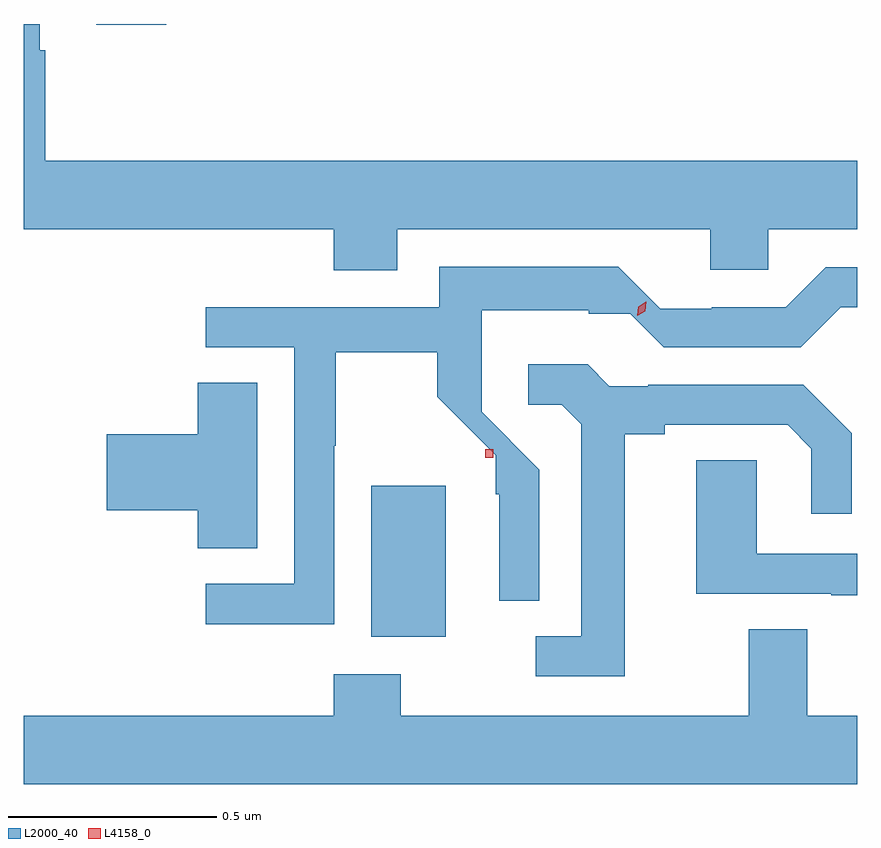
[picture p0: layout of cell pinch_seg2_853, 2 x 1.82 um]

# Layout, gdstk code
import gdstk
lib = gdstk.Library(unit=1e-6, precision=1e-09)
def R(c, l, rs):  # rectangles x0, y0, x1, y1
    for r in rs: c.add(gdstk.rectangle(r[:2], r[2:], *l))
def P(c, l, *ps):  # polygons
    for p in ps: c.add(gdstk.Polygon(p, *l))
L2000_40 = (2000, 40)
L4158_0 = (4158, 0)

pinch_seg2_853 = lib.new_cell('pinch_seg2_853')
R(pinch_seg2_853, L2000_40, [(674.591,596.042,674.77,596.404), (673.931,597.51,674.099,597.512)])
P(pinch_seg2_853, L2000_40, [(674.653,597.02),(675.404,597.02),(675.404,596.922),(675.543,596.922),(675.543,597.02),(675.757,597.02),(675.757,597.184),(673.808,597.184),(673.808,597.449),(673.795,597.449),(673.795,597.512),(673.757,597.512),(673.757,597.02),(674.501,597.02),(674.501,596.921),(674.653,596.921)],
  [(674.502,596.5),(674.505,596.5),(674.505,596.724),(674.749,596.724),(674.749,596.617),(674.889,596.477),(674.889,596.383),(674.898,596.383),(674.898,596.128),(674.994,596.128),(674.994,596.442),(674.856,596.581),(674.856,596.825),(675.113,596.825),(675.113,596.817),(675.212,596.817),(675.293,596.736),(675.621,596.736),(675.717,596.832),(675.757,596.832),(675.757,596.928),(675.681,596.928),(675.585,596.832),(675.408,596.832),(675.408,596.829),(675.284,596.829),(675.184,596.929),(674.754,596.929),(674.754,596.832),(674.193,596.832),(674.193,596.736),(674.406,596.736),(674.406,596.169),(674.193,596.169),(674.193,596.071),(674.502,596.071)],
  [(675.199,596.528),(675.295,596.528),(675.295,596.55),(675.59,596.55),(675.647,596.493),(675.647,596.337),(675.744,596.337),(675.744,596.53),(675.628,596.646),(675.256,596.646),(675.256,596.643),(675.162,596.643),(675.11,596.695),(674.967,596.695),(674.967,596.598),(675.048,596.598),(675.095,596.551),(675.095,596.043),(674.985,596.043),(674.985,595.947),(675.199,595.947)],
  [(674.317,596.651),(674.174,596.651),(674.174,596.528),(673.956,596.528),(673.956,596.345),(674.174,596.345),(674.174,596.254),(674.317,596.254)],
  [(675.757,596.241),(675.516,596.241),(675.516,596.465),(675.371,596.465),(675.371,596.145),(675.695,596.145),(675.695,596.141),(675.757,596.141)],
  [(675.757,595.852),(675.637,595.852),(675.637,596.06),(675.497,596.06),(675.497,595.852),(674.661,595.852),(674.661,595.951),(674.501,595.951),(674.501,595.852),(673.757,595.852),(673.757,595.688),(675.757,595.688)])
R(pinch_seg2_853, L4158_0, [(674.864,596.471,674.884,596.491)])
P(pinch_seg2_853, L4158_0, [(675.229,596.812),(675.229,596.812),(675.231,596.834),(675.25,596.846),(675.251,596.846),(675.251,596.846),(675.248,596.823),(675.229,596.812)])

lib.write_gds('pinch_seg2_853.gds')
